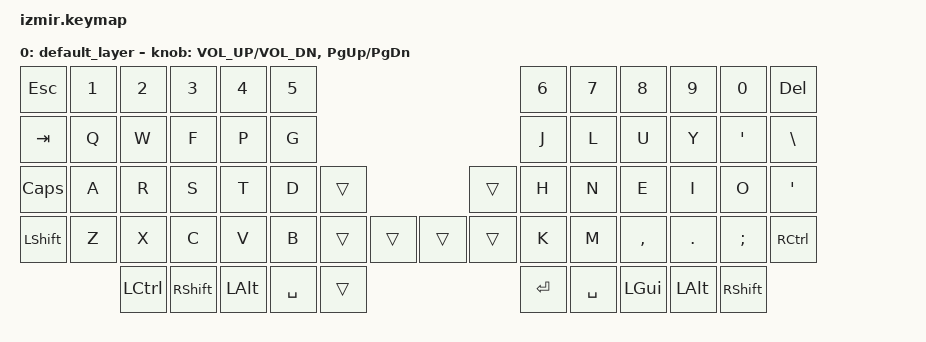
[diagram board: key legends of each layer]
/*
 * Copyright (c) 2025 The ZMK Contributors
 *
 * SPDX-License-Identifier: MIT
 */

#include <behaviors.dtsi>
#include <dt-bindings/zmk/keys.h>

/ {

    keymap {
        compatible = "zmk,keymap";

        // This is a sample keymap intended to be replaced with your own
        default_layer {

            bindings = <
            &kp ESC        &kp N1    &kp N2    &kp N3    &kp N4    &kp N5                                            &kp N6  &kp N7    &kp N8     &kp N9     &kp N0    &kp DEL
            &kp TAB        &kp Q     &kp W     &kp F     &kp P     &kp G                                             &kp J   &kp L     &kp U      &kp Y      &kp QUOT  &kp BSLH
            &kp CAPS       &kp A     &kp R     &kp S     &kp T     &kp D      &trans                  &trans         &kp H   &kp N     &kp E      &kp I      &kp O     &kp SQT
            &kp LSHFT      &kp Z     &kp X     &kp C     &kp V     &kp B   &trans  &trans        &trans     &trans   &kp K   &kp M     &kp COMMA  &kp DOT    &kp SEMI  &kp RCTRL
                                     &kp LCTRL &kp RSHFT &kp LALT          &kp SPACE  &trans        &kp ENTER  &kp SPACE           &kp LGUI  &kp LALT   &kp RSHFT  
            >;

             sensor-bindings = <&inc_dec_kp C_VOL_UP C_VOL_DN &inc_dec_kp PG_UP PG_DN>;
        };

    };
};

